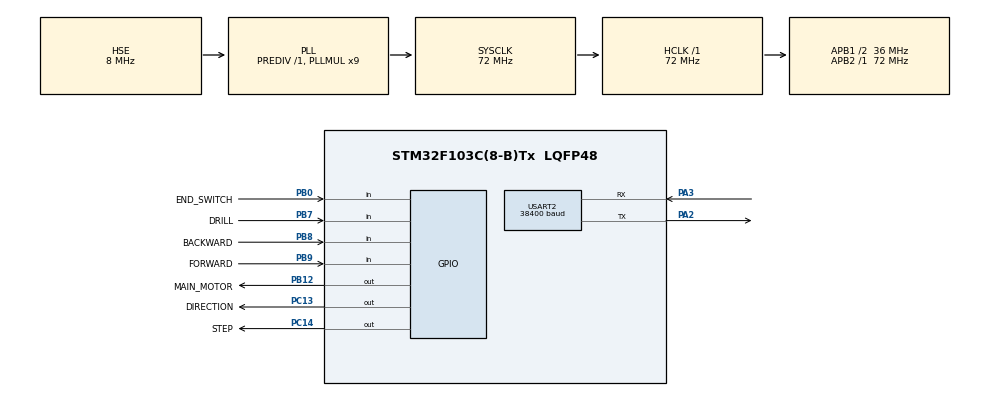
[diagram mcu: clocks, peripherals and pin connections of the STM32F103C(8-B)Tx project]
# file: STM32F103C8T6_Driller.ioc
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Mcu.Family=STM32F1
Mcu.Name=STM32F103C(8-B)Tx
Mcu.Package=LQFP48
NVIC.PriorityGroup=NVIC_PRIORITYGROUP_4
NVIC.USART2_IRQn=true\:0\:0\:false\:false\:true\:true
PA13.Mode=Serial_Wire
PA13.Signal=SYS_JTMS-SWDIO
PA14.Mode=Serial_Wire
PA14.Signal=SYS_JTCK-SWCLK
PA2.Mode=Asynchronous
PA2.Signal=USART2_TX
PA3.Mode=Asynchronous
PA3.Signal=USART2_RX
PB0.GPIO_Label=END_SWITCH
PB0.GPIO_PuPd=GPIO_PULLUP
PB0.Signal=GPIO_Input
PB12.GPIO_Label=MAIN_MOTOR
PB12.GPIO_Speed=GPIO_SPEED_FREQ_HIGH
PB12.Signal=GPIO_Output
PB7.GPIO_Label=DRILL
PB7.GPIO_PuPd=GPIO_PULLUP
PB7.Signal=GPIO_Input
PB8.GPIO_Label=BACKWARD
PB8.GPIO_PuPd=GPIO_PULLUP
PB8.Signal=GPIO_Input
PB9.GPIO_Label=FORWARD
PB9.GPIO_PuPd=GPIO_PULLUP
PB9.Signal=GPIO_Input
PC13-TAMPER-RTC.GPIO_Label=DIRECTION
PC13-TAMPER-RTC.GPIO_Speed=GPIO_SPEED_FREQ_HIGH
PC13-TAMPER-RTC.Signal=GPIO_Output
PC14-OSC32_IN.GPIO_Label=STEP
PC14-OSC32_IN.GPIO_Speed=GPIO_SPEED_FREQ_HIGH
PC14-OSC32_IN.Signal=GPIO_Output
PD0-OSC_IN.Mode=HSE-External-Oscillator
PD0-OSC_IN.Signal=RCC_OSC_IN
PD1-OSC_OUT.Mode=HSE-External-Oscillator
PD1-OSC_OUT.Signal=RCC_OSC_OUT
ProjectManager.HeapSize=0x200
ProjectManager.StackSize=0x400
ProjectManager.TargetToolchain=TrueSTUDIO
RCC.AHBFreq_Value=72000000
RCC.APB1CLKDivider=RCC_HCLK_DIV2
RCC.APB1Freq_Value=36000000
RCC.APB1TimFreq_Value=72000000
RCC.APB2Freq_Value=72000000
RCC.APB2TimFreq_Value=72000000
RCC.HCLKFreq_Value=72000000
RCC.PLLMUL=RCC_PLL_MUL9
RCC.PLLSourceVirtual=RCC_PLLSOURCE_HSE
RCC.SYSCLKFreq_VALUE=72000000
RCC.SYSCLKSource=RCC_SYSCLKSOURCE_PLLCLK
RCC.USBFreq_Value=72000000
USART2.BaudRate=38400
USART2.VirtualMode=VM_ASYNC
board=STM32F103C8T6_Driller

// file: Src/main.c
/**
  ******************************************************************************
  * File Name          : main.c
  * Description        : Main program body
  ******************************************************************************
  ** This notice applies to any and all portions of this file
  * that are not between comment pairs USER CODE BEGIN and
  * USER CODE END. Other portions of this file, whether
  * inserted by the user or by software development tools
  * are owned by their respective copyright owners.
  *
  * COPYRIGHT(c) 2018 STMicroelectronics
  *
  * Redistribution and use in source and binary forms, with or without modification,
  * are permitted provided that the following conditions are met:
  *   1. Redistributions of source code must retain the above copyright notice,
  *      this list of conditions and the following disclaimer.
  *   2. Redistributions in binary form must reproduce the above copyright notice,
  *      this list of conditions and the following disclaimer in the documentation
  *      and/or other materials provided with the distribution.
  *   3. Neither the name of STMicroelectronics nor the names of its contributors
  *      may be used to endorse or promote products derived from this software
  *      without specific prior written permission.
  *
  * THIS SOFTWARE IS PROVIDED BY THE COPYRIGHT HOLDERS AND CONTRIBUTORS "AS IS"
  * AND ANY EXPRESS OR IMPLIED WARRANTIES, INCLUDING, BUT NOT LIMITED TO, THE
  * IMPLIED WARRANTIES OF MERCHANTABILITY AND FITNESS FOR A PARTICULAR PURPOSE ARE
  * DISCLAIMED. IN NO EVENT SHALL THE COPYRIGHT HOLDER OR CONTRIBUTORS BE LIABLE
  * FOR ANY DIRECT, INDIRECT, INCIDENTAL, SPECIAL, EXEMPLARY, OR CONSEQUENTIAL
  * DAMAGES (INCLUDING, BUT NOT LIMITED TO, PROCUREMENT OF SUBSTITUTE GOODS OR
  * SERVICES; LOSS OF USE, DATA, OR PROFITS; OR BUSINESS INTERRUPTION) HOWEVER
  * CAUSED AND ON ANY THEORY OF LIABILITY, WHETHER IN CONTRACT, STRICT LIABILITY,
  * OR TORT (INCLUDING NEGLIGENCE OR OTHERWISE) ARISING IN ANY WAY OUT OF THE USE
  * OF THIS SOFTWARE, EVEN IF ADVISED OF THE POSSIBILITY OF SUCH DAMAGE.
  *
  ******************************************************************************
  */
#include "main.h"
#include "stm32f1xx_hal.h"

/* USER CODE BEGIN Includes */
#include <string.h>
/* USER CODE END Includes */

UART_HandleTypeDef huart2;

/* USER CODE BEGIN PV */
/* Private variables ---------------------------------------------------------*/
char buffer[50];
uint8_t i, flag=0;
/* USER CODE END PV */

void SystemClock_Config(void);
static void MX_GPIO_Init(void);
static void MX_USART2_UART_Init(void);

/* USER CODE BEGIN PFP */
/* Private function prototypes -----------------------------------------------*/
void drill();
void stop();
/* USER CODE END PFP */

/* USER CODE BEGIN 0 */
void forward_Bluetooth()
{
	HAL_GPIO_WritePin(MAIN_MOTOR_GPIO_Port, MAIN_MOTOR_Pin, 1);
	HAL_GPIO_WritePin(DIRECTION_GPIO_Port, DIRECTION_Pin, 0);
	while(HAL_GPIO_ReadPin(FORWARD_GPIO_Port, FORWARD_Pin)
			&& HAL_GPIO_ReadPin(BACKWARD_GPIO_Port, BACKWARD_Pin)
			&& HAL_GPIO_ReadPin(DRILL_GPIO_Port, DRILL_Pin)
			&& flag==0)
	{
		  HAL_GPIO_WritePin(STEP_GPIO_Port, STEP_Pin, 1);
		  HAL_Delay(1);
		  HAL_GPIO_WritePin(STEP_GPIO_Port, STEP_Pin, 0);
		  HAL_Delay(1);
	}
}

void backward_Bluetooth()
{
	HAL_GPIO_WritePin(MAIN_MOTOR_GPIO_Port, MAIN_MOTOR_Pin, 1);
	HAL_GPIO_WritePin(DIRECTION_GPIO_Port, DIRECTION_Pin, 1);
	while(HAL_GPIO_ReadPin(FORWARD_GPIO_Port, FORWARD_Pin)
			&& HAL_GPIO_ReadPin(BACKWARD_GPIO_Port, BACKWARD_Pin)
			&& HAL_GPIO_ReadPin(DRILL_GPIO_Port, DRILL_Pin)
			&& flag==0
			&& !HAL_GPIO_ReadPin(END_SWITCH_GPIO_Port, END_SWITCH_Pin))
	{
		  HAL_GPIO_WritePin(STEP_GPIO_Port, STEP_Pin, 1);
		  HAL_Delay(1);
		  HAL_GPIO_WritePin(STEP_GPIO_Port, STEP_Pin, 0);
		  HAL_Delay(1);
	}
}

uint8_t string_compare(char array1[], char array2[], uint16_t lenght)
{
	 uint8_t comVAR=0, i;
	 for(i=0;i<lenght;i++)
	   	{
	   		  if(array1[i]==array2[i])
	   	  		  comVAR++;
	   	  	  else comVAR=0;
	   	}
	 if (comVAR==lenght)
		 	return 1;
	 else 	return 0;
}

void Message_handler()
{
	flag=0;
	i=0;

	if(string_compare(buffer, "forward", strlen("forward")))
	{
		memset(buffer, 0, sizeof(buffer));
		forward_Bluetooth();
	}else
	if(string_compare(buffer, "backward", strlen("backward")))
	{
		memset(buffer, 0, sizeof(buffer));
		backward_Bluetooth();
	}else
	if(string_compare(buffer, "drill", strlen("drill")))
	{
		memset(buffer, 0, sizeof(buffer));
		drill();
	}else
	if(string_compare(buffer, "stop", strlen("stop")))
	{
		memset(buffer, 0, sizeof(buffer));
		stop();
	}
}

void stop()
{
	HAL_GPIO_WritePin(MAIN_MOTOR_GPIO_Port, MAIN_MOTOR_Pin, 0);
	while(!HAL_GPIO_ReadPin(FORWARD_GPIO_Port, FORWARD_Pin))
		HAL_Delay(10);
	while(!HAL_GPIO_ReadPin(BACKWARD_GPIO_Port, BACKWARD_Pin))
		HAL_Delay(10);
	while(!HAL_GPIO_ReadPin(FORWARD_GPIO_Port, FORWARD_Pin))
		HAL_Delay(10);
	while(!HAL_GPIO_ReadPin(BACKWARD_GPIO_Port, BACKWARD_Pin))
		HAL_Delay(10);
	while(!HAL_GPIO_ReadPin(FORWARD_GPIO_Port, FORWARD_Pin))
		HAL_Delay(10);
	while(!HAL_GPIO_ReadPin(BACKWARD_GPIO_Port, BACKWARD_Pin))
		HAL_Delay(10);
}

void backward()
{
	HAL_GPIO_WritePin(MAIN_MOTOR_GPIO_Port, MAIN_MOTOR_Pin, 1);
	HAL_GPIO_WritePin(DIRECTION_GPIO_Port, DIRECTION_Pin, 1);
	while(!HAL_GPIO_ReadPin(BACKWARD_GPIO_Port, BACKWARD_Pin)
			&& flag==0
		    && HAL_GPIO_ReadPin(FORWARD_GPIO_Port, FORWARD_Pin)
			&& !HAL_GPIO_ReadPin(END_SWITCH_GPIO_Port, END_SWITCH_Pin))
	{
		for(uint16_t i=0; i<50; i++)
		{
		  HAL_GPIO_WritePin(STEP_GPIO_Port, STEP_Pin, 1);
		  HAL_Delay(1);
		  HAL_GPIO_WritePin(STEP_GPIO_Port, STEP_Pin, 0);
		  HAL_Delay(1);
		}
	}
}

void forward()
{
	HAL_GPIO_WritePin(MAIN_MOTOR_GPIO_Port, MAIN_MOTOR_Pin, 1);
	HAL_GPIO_WritePin(DIRECTION_GPIO_Port, DIRECTION_Pin, 0);
	while(!HAL_GPIO_ReadPin(FORWARD_GPIO_Port, FORWARD_Pin)
			&& flag==0
			&& HAL_GPIO_ReadPin(BACKWARD_GPIO_Port, BACKWARD_Pin))
	{
		for(uint16_t i=0; i<50; i++)
		{
		  HAL_GPIO_WritePin(STEP_GPIO_Port, STEP_Pin, 1);
		  HAL_Delay(1);
		  HAL_GPIO_WritePin(STEP_GPIO_Port, STEP_Pin, 0);
		  HAL_Delay(1);
		}
	}
}

void calibrate_axis()
{
	  HAL_GPIO_WritePin(DIRECTION_GPIO_Port, DIRECTION_Pin, 0);
	  while(HAL_GPIO_ReadPin(END_SWITCH_GPIO_Port, END_SWITCH_Pin)
			  && flag==0
			  && HAL_GPIO_ReadPin(FORWARD_GPIO_Port, FORWARD_Pin)
	  	  	  && HAL_GPIO_ReadPin(BACKWARD_GPIO_Port, BACKWARD_Pin))
	  {
		  HAL_GPIO_WritePin(STEP_GPIO_Port, STEP_Pin, 1);
		  HAL_Delay(1);
		  HAL_GPIO_WritePin(STEP_GPIO_Port, STEP_Pin, 0);
		  HAL_Delay(1);
	  }

	  HAL_GPIO_WritePin(DIRECTION_GPIO_Port, DIRECTION_Pin, 1);
	  while(!HAL_GPIO_ReadPin(END_SWITCH_GPIO_Port, END_SWITCH_Pin)
			  && flag==0
			  && HAL_GPIO_ReadPin(FORWARD_GPIO_Port, FORWARD_Pin)
			  && HAL_GPIO_ReadPin(BACKWARD_GPIO_Port, BACKWARD_Pin))
	  {
		  HAL_GPIO_WritePin(STEP_GPIO_Port, STEP_Pin, 1);
		  HAL_Delay(1);
		  HAL_GPIO_WritePin(STEP_GPIO_Port, STEP_Pin, 0);
		  HAL_Delay(1);
	  }
}

void drill()
{
	HAL_GPIO_WritePin(MAIN_MOTOR_GPIO_Port, MAIN_MOTOR_Pin, 1);
	calibrate_axis();

	HAL_GPIO_WritePin(DIRECTION_GPIO_Port, DIRECTION_Pin, 0);

	for(uint16_t i=0; i<6400; i++)
	{
	  HAL_GPIO_WritePin(STEP_GPIO_Port, STEP_Pin, 1);
	  HAL_Delay(1);
	  HAL_GPIO_WritePin(STEP_GPIO_Port, STEP_Pin, 0);
	  HAL_Delay(1);
	  if(!HAL_GPIO_ReadPin(BACKWARD_GPIO_Port, BACKWARD_Pin)
			  || !HAL_GPIO_ReadPin(FORWARD_GPIO_Port, FORWARD_Pin)
			  || flag==1)
		  break;
	}

	calibrate_axis();
	HAL_GPIO_WritePin(MAIN_MOTOR_GPIO_Port, MAIN_MOTOR_Pin, 0);
}

/* USER CODE END 0 */

int main(void)
{

  /* MCU Configuration----------------------------------------------------------*/

  /* Reset of all peripherals, Initializes the Flash interface and the Systick. */
  HAL_Init();

  /* Configure the system clock */
  SystemClock_Config();

  /* Initialize all configured peripherals */
  MX_GPIO_Init();
  MX_USART2_UART_Init();

  /* USER CODE BEGIN 2 */
  calibrate_axis();

  memset(buffer, 0, sizeof(buffer));
  __HAL_UART_ENABLE_IT(&huart2, UART_IT_RXNE);
  /* USER CODE END 2 */

  /* Infinite loop */
  while (1)
  {

  /* USER CODE BEGIN 3 */

	  if(!HAL_GPIO_ReadPin(FORWARD_GPIO_Port, FORWARD_Pin))
		  forward();

	  if(!HAL_GPIO_ReadPin(BACKWARD_GPIO_Port, BACKWARD_Pin))
		  backward();

	  if(!HAL_GPIO_ReadPin(DRILL_GPIO_Port, DRILL_Pin))
		  drill();

	  if(!HAL_GPIO_ReadPin(FORWARD_GPIO_Port, FORWARD_Pin) && !HAL_GPIO_ReadPin(BACKWARD_GPIO_Port, BACKWARD_Pin))
		  stop();

	  if(flag==1)
		  Message_handler();
  }
  /* USER CODE END 3 */

}

/** System Clock Configuration
*/
void SystemClock_Config(void)
{

  RCC_OscInitTypeDef RCC_OscInitStruct;
  RCC_ClkInitTypeDef RCC_ClkInitStruct;

    /**Initializes the CPU, AHB and APB busses clocks
    */
  RCC_OscInitStruct.OscillatorType = RCC_OSCILLATORTYPE_HSE;
  RCC_OscInitStruct.HSEState = RCC_HSE_ON;
  RCC_OscInitStruct.HSEPredivValue = RCC_HSE_PREDIV_DIV1;
  RCC_OscInitStruct.HSIState = RCC_HSI_ON;
  RCC_OscInitStruct.PLL.PLLState = RCC_PLL_ON;
  RCC_OscInitStruct.PLL.PLLSource = RCC_PLLSOURCE_HSE;
  RCC_OscInitStruct.PLL.PLLMUL = RCC_PLL_MUL9;
  if (HAL_RCC_OscConfig(&RCC_OscInitStruct) != HAL_OK)
  {
    _Error_Handler(__FILE__, __LINE__);
  }

    /**Initializes the CPU, AHB and APB busses clocks
    */
  RCC_ClkInitStruct.ClockType = RCC_CLOCKTYPE_HCLK|RCC_CLOCKTYPE_SYSCLK
                              |RCC_CLOCKTYPE_PCLK1|RCC_CLOCKTYPE_PCLK2;
  RCC_ClkInitStruct.SYSCLKSource = RCC_SYSCLKSOURCE_PLLCLK;
  RCC_ClkInitStruct.AHBCLKDivider = RCC_SYSCLK_DIV1;
  RCC_ClkInitStruct.APB1CLKDivider = RCC_HCLK_DIV2;
  RCC_ClkInitStruct.APB2CLKDivider = RCC_HCLK_DIV1;

  if (HAL_RCC_ClockConfig(&RCC_ClkInitStruct, FLASH_LATENCY_2) != HAL_OK)
  {
    _Error_Handler(__FILE__, __LINE__);
  }

    /**Configure the Systick interrupt time
    */
  HAL_SYSTICK_Config(HAL_RCC_GetHCLKFreq()/1000);

    /**Configure the Systick
    */
  HAL_SYSTICK_CLKSourceConfig(SYSTICK_CLKSOURCE_HCLK);

  /* SysTick_IRQn interrupt configuration */
  HAL_NVIC_SetPriority(SysTick_IRQn, 0, 0);
}

/* USART2 init function */
static void MX_USART2_UART_Init(void)
{

  huart2.Instance = USART2;
  huart2.Init.BaudRate = 38400;
  huart2.Init.WordLength = UART_WORDLENGTH_8B;
  huart2.Init.StopBits = UART_STOPBITS_1;
  huart2.Init.Parity = UART_PARITY_NONE;
  huart2.Init.Mode = UART_MODE_TX_RX;
  huart2.Init.HwFlowCtl = UART_HWCONTROL_NONE;
  huart2.Init.OverSampling = UART_OVERSAMPLING_16;
  if (HAL_UART_Init(&huart2) != HAL_OK)
  {
    _Error_Handler(__FILE__, __LINE__);
  }

}

/** Configure pins as
        * Analog
        * Input
        * Output
        * EVENT_OUT
        * EXTI
*/
static void MX_GPIO_Init(void)
{

  GPIO_InitTypeDef GPIO_InitStruct;

  /* GPIO Ports Clock Enable */
  __HAL_RCC_GPIOC_CLK_ENABLE();
  __HAL_RCC_GPIOD_CLK_ENABLE();
  __HAL_RCC_GPIOA_CLK_ENABLE();
  __HAL_RCC_GPIOB_CLK_ENABLE();

  /*Configure GPIO pin Output Level */
  HAL_GPIO_WritePin(GPIOC, DIRECTION_Pin|STEP_Pin, GPIO_PIN_RESET);

  /*Configure GPIO pin Output Level */
  HAL_GPIO_WritePin(MAIN_MOTOR_GPIO_Port, MAIN_MOTOR_Pin, GPIO_PIN_RESET);

  /*Configure GPIO pins : DIRECTION_Pin STEP_Pin */
  GPIO_InitStruct.Pin = DIRECTION_Pin|STEP_Pin;
  GPIO_InitStruct.Mode = GPIO_MODE_OUTPUT_PP;
  GPIO_InitStruct.Speed = GPIO_SPEED_FREQ_HIGH;
  HAL_GPIO_Init(GPIOC, &GPIO_InitStruct);

  /*Configure GPIO pins : END_SWITCH_Pin DRILL_Pin BACKWARD_Pin FORWARD_Pin */
  GPIO_InitStruct.Pin = END_SWITCH_Pin|DRILL_Pin|BACKWARD_Pin|FORWARD_Pin;
  GPIO_InitStruct.Mode = GPIO_MODE_INPUT;
  GPIO_InitStruct.Pull = GPIO_PULLUP;
  HAL_GPIO_Init(GPIOB, &GPIO_InitStruct);

  /*Configure GPIO pin : MAIN_MOTOR_Pin */
  GPIO_InitStruct.Pin = MAIN_MOTOR_Pin;
  GPIO_InitStruct.Mode = GPIO_MODE_OUTPUT_PP;
  GPIO_InitStruct.Speed = GPIO_SPEED_FREQ_HIGH;
  HAL_GPIO_Init(MAIN_MOTOR_GPIO_Port, &GPIO_InitStruct);

}

void _Error_Handler(char * file, int line)
{
  while(1)
  {
  }
}

/************************ (C) COPYRIGHT STMicroelectronics *****END OF FILE****/
